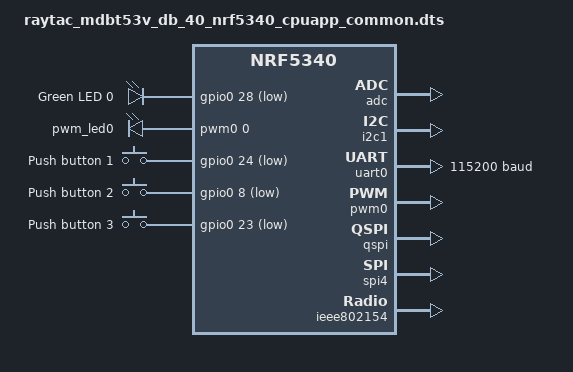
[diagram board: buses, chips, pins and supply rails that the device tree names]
/*
 * Copyright (c) 2023 Raytac Corporation
 *
 * SPDX-License-Identifier: Apache-2.0
 */
#include "raytac_mdbt53v_db_40_nrf5340_cpuapp_common-pinctrl.dtsi"
#include <zephyr/dt-bindings/input/input-event-codes.h>

/ {

	chosen {
		zephyr,console = &uart0;
		zephyr,shell-uart = &uart0;
		zephyr,uart-mcumgr = &uart0;
		zephyr,bt-mon-uart = &uart0;
		zephyr,bt-c2h-uart = &uart0;
		zephyr,bt-hci-rpmsg-ipc = &ipc0;
		nordic,802154-spinel-ipc = &ipc0;
		zephyr,ieee802154 = &ieee802154;
	};

	leds {
		compatible = "gpio-leds";
		led0: led_0 {
			gpios = <&gpio0 28 GPIO_ACTIVE_LOW>;
			label = "Green LED 0";
		};
	};

	pwmleds {
		compatible = "pwm-leds";
		pwm_led0: pwm_led_0 {
			pwms = <&pwm0 0 PWM_MSEC(20) PWM_POLARITY_INVERTED>;
		};
	};

	buttons {
		compatible = "gpio-keys";
		button0: button_0 {
			gpios = <&gpio0 24 (GPIO_PULL_UP | GPIO_ACTIVE_LOW)>;
			label = "Push button 1";
			zephyr,code = <INPUT_KEY_0>;
		};
		button1: button_1 {
			gpios = <&gpio0 8 (GPIO_PULL_UP | GPIO_ACTIVE_LOW)>;
			label = "Push button 2";
			zephyr,code = <INPUT_KEY_1>;
		};
		button2: button_2 {
			gpios = <&gpio0 23 (GPIO_PULL_UP | GPIO_ACTIVE_LOW)>;
			label = "Push button 3";
			zephyr,code = <INPUT_KEY_2>;
		};
	};

	gpio_fwd: nrf-gpio-forwarder {
		compatible = "nordic,nrf-gpio-forwarder";
		status = "okay";
		uart {
			gpios = <&gpio1 1 0>, <&gpio1 0 0>, <&gpio0 11 0>, <&gpio0 10 0>;
		};
	};

	/* These aliases are provided for compatibility with samples */
	aliases {
		led0 = &led0;
		pwm-led0 = &pwm_led0;
		sw0 = &button0;
		sw1 = &button1;
		sw2 = &button2;
		bootloader-led0 = &led0;
		mcuboot-button0 = &button0;
		mcuboot-led0 = &led0;
		watchdog0 = &wdt0;
	};
};

&adc {
	status = "okay";
};

&gpiote {
	status = "okay";
};

&gpio0 {
	status = "okay";
};

&gpio1 {
	status = "okay";
};

&i2c1 {
	compatible = "nordic,nrf-twim";
	status = "okay";
	pinctrl-0 = <&i2c1_default>;
	pinctrl-1 = <&i2c1_sleep>;
	pinctrl-names = "default", "sleep";
};

&uart0 {
	status = "okay";
	current-speed = <115200>;
	pinctrl-0 = <&uart0_default>;
	pinctrl-1 = <&uart0_sleep>;
	pinctrl-names = "default", "sleep";
};

&pwm0 {
	status = "okay";
	pinctrl-0 = <&pwm0_default>;
	pinctrl-1 = <&pwm0_sleep>;
	pinctrl-names = "default", "sleep";
};

&qspi {
	status = "okay";
	pinctrl-0 = <&qspi_default>;
	pinctrl-1 = <&qspi_sleep>;
	pinctrl-names = "default", "sleep";
};

&spi4 {
	compatible = "nordic,nrf-spim";
	status = "okay";
	cs-gpios = <&gpio0 11 0>;
	pinctrl-0 = <&spi4_default>;
	pinctrl-1 = <&spi4_sleep>;
	pinctrl-names = "default", "sleep";
};

&flash0 {

	partitions {
		compatible = "fixed-partitions";
		#address-cells = <1>;
		#size-cells = <1>;

		boot_partition: partition@0 {
			label = "mcuboot";
			reg = <0x00000000 0x00010000>;
		};
		slot0_partition: partition@10000 {
			label = "image-0";
		};
		slot0_ns_partition: partition@50000 {
			label = "image-0-nonsecure";
		};
		slot1_partition: partition@80000 {
			label = "image-1";
		};
		slot1_ns_partition: partition@c0000 {
			label = "image-1-nonsecure";
		};
		/* 0xf0000 to 0xf7fff reserved for TF-M partitions */
		storage_partition: partition@f8000 {
			label = "storage";
			reg = <0x000f8000 0x00008000>;
		};
	};
};

&ieee802154 {
	status = "okay";
};

/ {

	reserved-memory {
		#address-cells = <1>;
		#size-cells = <1>;
		ranges;

		sram0_image: image@20000000 {
			/* Zephyr image(s) memory */
		};

		sram0_s: image_s@20000000 {
			/* Secure image memory */
		};

		sram0_ns: image_ns@20040000 {
			/* Non-Secure image memory */
		};
	};
};

/* Include partition configuration file */
#include "raytac_mdbt53v_db_40_nrf5340_cpuapp_partition_conf.dts"
